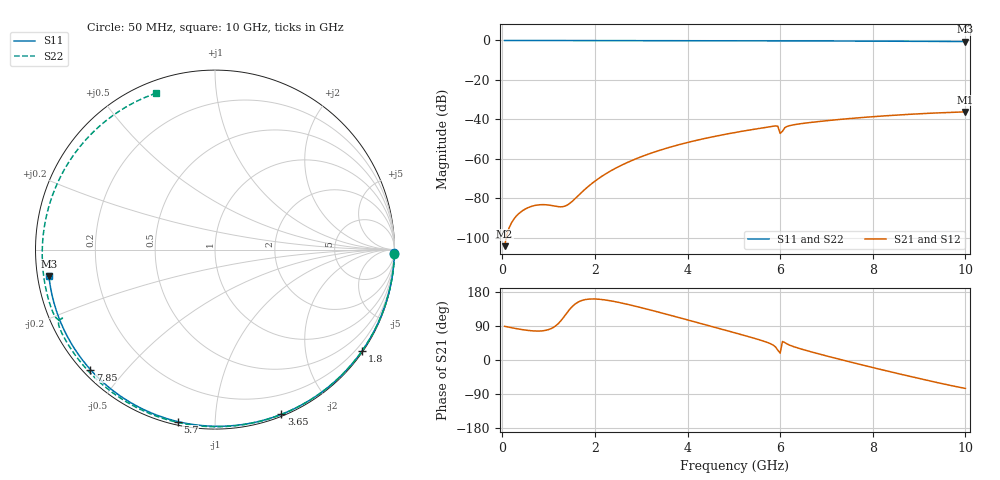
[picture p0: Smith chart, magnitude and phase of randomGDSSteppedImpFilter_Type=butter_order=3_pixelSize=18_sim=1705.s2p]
! freq	dB(S11)	phase(S11)	dB(S12)	phase(S12)
!  dB(S21)	phase(S21)	dB(S22)	phase(S22)
!S-par simulation data
#  GHz  S  DB  R 50
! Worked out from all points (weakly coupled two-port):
!   200 points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, 50 MHz to 10 GHz, reference 50 ohm
!   highest |S21| = -36.22 dB at 10 GHz (marker M1); lowest = -104.4 dB at 50 MHz (marker M2)
!   lowest |S11| = -0.6 dB at 10 GHz (marker M3), VSWR 30.84, Z = 1.63 - j4 ohm
!   |S11| at or under -10 dB: nowhere
!   |S22| runs from -0.6 to 0.0 dB; largest |S21 - S12| = 0
!   S11 on the Smith chart (normalised r, x): 50 MHz: open; 1.8 GHz: 0.03, -3.22; 3.65 GHz: 0.02, -1.48; 5.7 GHz: 0.02, -0.81; 7.85 GHz: 0.02, -0.40; 10 GHz: 0.03, -0.08
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0.05  -0.00 -1.0  -104.37 88.9  -104.37 88.9  -0.00 -1.5
0.75  -0.02 -14.5  -83.53 76.4  -83.53 76.4  -0.03 -22.7
1.55  -0.04 -29.8  -80.77 145.5  -80.77 145.5  -0.06 -46.2
1.6  -0.04 -30.8  -79.64 150.0  -79.64 150.0  -0.06 -47.6
1.75  -0.04 -33.6  -76.27 158.2  -76.27 158.2  -0.07 -51.9
1.8  -0.04 -34.5  -75.21 159.6  -75.21 159.6  -0.07 -53.3
2.1  -0.05 -40.1  -69.71 160.2  -69.71 160.2  -0.08 -61.7
2.45  -0.06 -46.6  -64.78 153.6  -64.78 153.6  -0.09 -71.2
2.9  -0.07 -54.7  -59.92 141.1  -59.92 141.1  -0.10 -83.1
3.4  -0.08 -63.6  -55.72 125.5  -55.72 125.5  -0.12 -95.8
3.65  -0.09 -68.0  -53.96 117.4  -53.96 117.4  -0.13 -101.9
4.3  -0.11 -79.2  -50.10 95.9  -50.10 95.9  -0.16 -117.5
5.05  -0.14 -91.7  -46.60 70.8  -46.60 70.8  -0.19 -134.7
5.7  -0.17 -102.3  -44.07 47.4  -44.07 47.4  -0.24 -149.4
5.95  -0.19 -106.3  -43.53 25.7  -43.53 25.7  -0.38 -155.7
6  -0.19 -107.1  -47.16 18.0  -47.16 18.0  -0.62 -155.8
6.15  -0.20 -109.4  -43.62 42.3  -43.62 42.3  -0.29 -158.3
6.7  -0.23 -118.1  -41.48 20.5  -41.48 20.5  -0.30 -170.8
7.85  -0.32 -136.1  -38.95 -15.5  -38.95 -15.5  -0.40 163.5
8.35  -0.37 -143.9  -38.11 -30.2  -38.11 -30.2  -0.44 152.0
9.15  -0.46 -156.7  -37.02 -52.9  -37.02 -52.9  -0.52 132.7
10  -0.56 -170.8  -36.22 -75.1  -36.22 -75.1  -0.62 110.8
